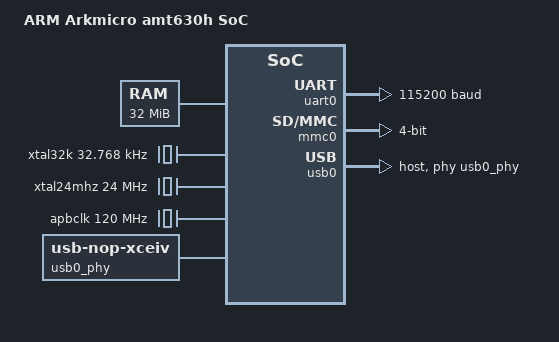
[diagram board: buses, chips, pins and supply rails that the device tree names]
// SPDX-License-Identifier: GPL-2.0
/dts-v1/;
/include/ "skeleton.dtsi"

#include <dt-bindings/interrupt-controller/arm-gic.h>
#include <dt-bindings/gpio/gpio.h>
#include <dt-bindings/clock/ark-clk.h>

/ {
	model = "ARM Arkmicro amt630h SoC";
	compatible = "arkmicro,amt630h";

	interrupt-parent = <&intc>;

	aliases {
		serial0 = &uart0;
	};

	chosen {
		bootargs = "console=ttyS0,115200 earlyprintk loglevel=8 clk_ignore_unused";
		stdout-path = "serial0:115200n8";
	};

	cpus {
		#address-cells = <1>;
		#size-cells = <0>;

		cpu@0 {
			device_type = "cpu";
			compatible = "arm,cortex-a5";
			reg = <0>;
			//next-level-cache = <&L2>;
		};
	};

	memory {
		reg = <0x20000000 0x2000000>;	//32MB
	};


	sregs@40408000 {
		compatible = "arkmicro,ark-sregs";
		reg = <0x60000000 0x1000>;

		clocks {
			#address-cells = <1>;
			#size-cells = <0>;

			xtal32k: xtal32k@32K {
				#clock-cells = <0>;
				compatible = "fixed-clock";
				clock-frequency = <32768>;
			};

			xtal24mhz: xtal24mhz@24M {
				#clock-cells = <0>;
				compatible = "fixed-clock";
				clock-frequency = <24000000>;
			};

			clk240mhz: clk240mhz@240M {
				#clock-cells = <0>;
				compatible = "fixed-factor-clock";
				clock-div = <1>;
				clock-mult = <10>;
				clocks = <&xtal24mhz>;
			};

			clk12mhz: clk12mhz@12M {
				#clock-cells = <0>;
				compatible = "fixed-factor-clock";
				clock-div = <2>;
				clock-mult = <1>;
				clocks = <&xtal24mhz>;
			};

			clk6mhz: clk6mhz@6M {
				#clock-cells = <0>;
				compatible = "fixed-factor-clock";
				clock-div = <4>;
				clock-mult = <1>;
				clocks = <&xtal24mhz>;
			};

			apbclk: apbclk@120M {
				#clock-cells = <0>;
				compatible = "fixed-clock";
				clock-frequency = <120000000>;		
			};
		};
	};

	soc {
		compatible = "simple-bus";
		#address-cells = <1>;
		#size-cells = <1>;
		ranges;

		intc: interrupt-controller@61400000 {
			compatible = "arkmicro,ark-intc";
			interrupt-controller;
			reg = <0x61400000 0x1000>;
			#interrupt-cells = <1>;
		};

		uart0: uart@60500000 {
			compatible = "arkmicro,ark-uart";
			reg = <0x60500000 0x1000>;
			interrupts = <11>;
			current-speed = <115200>;
			clocks = <&xtal24mhz>;
		};

		timer0: timer@60a000000 {
			compatible = "snps,dw-apb-timer-osc";
			reg = <0x60a00000 0x14>;
			interrupts = <19>;
			clocks = <&xtal24mhz>, <&apbclk>;
		    clock-names = "timer", "pclk";
		};

		timer1: timer@60a000014 {
			compatible = "snps,dw-apb-timer-osc";
			reg = <0x60a00014 0x14>;
			interrupts = <20>;
			clocks = <&xtal24mhz>, <&apbclk>;
		    clock-names = "timer", "pclk";
		};

		mmc0: mmc@70400000 {
			compatible = "snps,dw-mshc";
			#address-cells = <1>;
			#size-cells = <0>;
			reg = <0x70400000 0x1000>;
			interrupts = <6>;
			fifo-depth = <32>;
			bus-width = <4>;
			card-detect-delay = <200>;
			clocks = <&xtal24mhz>;
			clock-names = "ciu";
		};

		usb0_phy: usb0-phy {
		    compatible = "usb-nop-xceiv";
		    #phy-cells = <0>;
		    //status = "disabled";
		};


		usb0: usb@700C0000 {
			compatible = "snps,dwc2";
			#address-cells = <1>;
			#size-cells = <0>;
			reg = <0x70300000 0x40000>;
			interrupt-parent = <&intc>;
		    	interrupts = <3>;
			phys = <&usb0_phy>;
			phy-names = "usb0-phy";
			dr_mode = "host";
			//status = "disabled";
		};
	};
};
